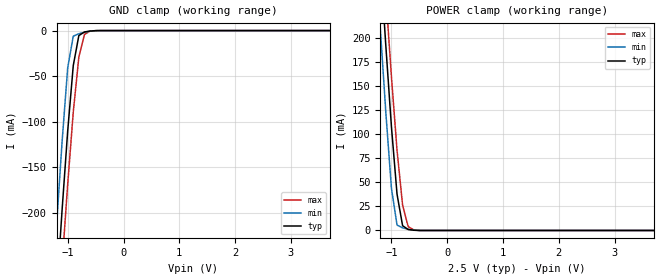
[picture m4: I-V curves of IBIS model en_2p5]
| [Disclaimer]
| [Copyright]
| (C)
| From 18014015401X.ibs, 18014015401X, WE
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[Model]   en_2p5
Model_type   Input
Vinl = 0.75
Vinh = 1.75
|   typ   min   max
|   (nom PVT)   (fast PVT)   (slow PVT)
C_comp   3.303e-15   3.281e-15   1.151e-13
[Model spec]
|subparameter
Vinl   0.75   0.675   0.825
Vinh   1.75   1.575   1.925
| Where nom  PVT is Nominal Process, 2.5V, 27C
|   Fast PVT is Strong Process,  2.75V, -55C
|   Slow PVT is Weak Process,   2.25V, 150C
[Voltage Range]   2.5   2.25   2.75
|Ambient Temperature   25   125   -55
|Junction Temperature
[Temperature Range]   27   150   -55
[Power Clamp Reference]   2.5   2.25   2.75
[GND Clamp Reference]   0   0   0
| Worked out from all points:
|   GND clamp passes 1 mA (typ) near -0.65 V on its own axis
|   POWER clamp passes 1 mA (typ) near -0.70 V on its own axis
[GND Clamp]
-2.5V     -1.592A    -1.541A    -1.627A
-1.3V     -384.9mA   -311.3mA   -441.9mA
-1.2V     -289.3mA   -214.6mA   -347.9mA
-1.1V     -196.8mA   -121.8mA   -256.3mA
-1V       -110.3mA   -40.91mA   -168.9mA
-900mV    -38.4mA    -6.152mA   -89.52mA
-800mV    -5.474mA   -3.481mA   -29.01mA
-700mV    -1.531mA   -1.907mA   -4.308mA
-600mV    -532.3uA   -643.3uA   -627.8uA
5V        0A         0A         0A
[POWER Clamp]
-2.5V     1.53A      1.473A     1.57A
-1.2V     280.2mA    210.3mA    332.3mA
-1.1V     191.2mA    122mA      243.9mA
-1V       107.6mA    43.85mA    159.6mA
-900mV    37.75mA    5.657mA    83.35mA
-800mV    4.914mA    2.69mA     26.25mA
-700mV    1.001mA    1.317mA    3.987mA
-600mV    240.4uA    331.4uA    538.7uA
-500mV    21.06uA    14.62uA    50.53uA
5V        0A         0A         0A
